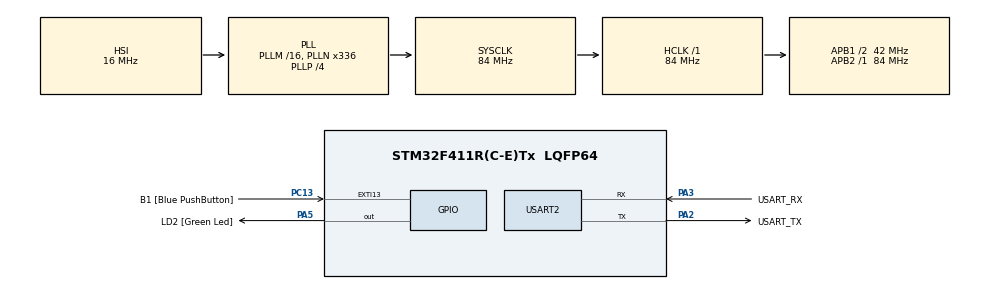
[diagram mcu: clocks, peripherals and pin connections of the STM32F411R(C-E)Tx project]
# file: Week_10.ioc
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Mcu.Family=STM32F4
PC15-OSC32_OUT.Mode=LSE-External-Oscillator
RCC.CortexFreq_Value=84000000
PC13-ANTI_TAMP.GPIO_Label=B1 [Blue PushButton]
PA14.GPIO_Label=TCK
PH1\ -\ OSC_OUT.Mode=HSE-External-Clock-Source
RCC.APB1CLKDivider=RCC_HCLK_DIV2
PC14-OSC32_IN.Signal=RCC_OSC32_IN
NVIC.USART2_IRQn=true\:0\:0\:false\:false\:true\:true\:true
RCC.SYSCLKSource=RCC_SYSCLKSOURCE_PLLCLK
ProjectManager.StackSize=0x400
PA13.Signal=SYS_JTMS-SWDIO
PA3.Mode=Asynchronous
PH0\ -\ OSC_IN.Mode=HSE-External-Clock-Source
PH0\ -\ OSC_IN.Signal=RCC_OSC_IN
ProjectManager.TargetToolchain=STM32CubeIDE
RCC.HCLKFreq_Value=84000000
RCC.APB2TimFreq_Value=84000000
PC15-OSC32_OUT.Signal=RCC_OSC32_OUT
RCC.AHBFreq_Value=84000000
PA5.Signal=GPIO_Output
RCC.HSE_VALUE=8000000
PH1\ -\ OSC_OUT.Signal=RCC_OSC_OUT
board=NUCLEO-F411RE
PC13-ANTI_TAMP.Signal=GPXTI13
RCC.VCOOutputFreq_Value=336000000
RCC.APB2Freq_Value=84000000
PC14-OSC32_IN.Mode=LSE-External-Oscillator
PA14.Mode=Serial_Wire
PA13.Mode=Serial_Wire
Mcu.Name=STM32F411R(C-E)Tx
PA2.Signal=USART2_TX
PA13.GPIO_Label=TMS
RCC.FLatency-AdvancedSettings=FLASH_LATENCY_2
RCC.48MHZClocksFreq_Value=84000000
PB3.Signal=SYS_JTDO-SWO
RCC.SYSCLKFreq_VALUE=84000000
Mcu.Package=LQFP64
PA5.GPIO_Label=LD2 [Green Led]
USART2.VirtualMode=VM_ASYNC
PC13-ANTI_TAMP.GPIO_ModeDefaultEXTI=GPIO_MODE_IT_FALLING
PA2.GPIO_Label=USART_TX
PA14.Signal=SYS_JTCK-SWCLK
ProjectManager.HeapSize=0x200
RCC.HSI_VALUE=16000000
RCC.PLLP=RCC_PLLP_DIV4
NVIC.PriorityGroup=NVIC_PRIORITYGROUP_0
RCC.PLLN=336
RCC.APB1TimFreq_Value=84000000
PA2.Mode=Asynchronous
RCC.APB1Freq_Value=42000000
PA3.GPIO_Label=USART_RX
PA3.Signal=USART2_RX
PB3.GPIO_Label=SWO

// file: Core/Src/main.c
/* USER CODE BEGIN Header */
/**
 ******************************************************************************
 * @file           : main.c
 * @brief          : Main program body
 ******************************************************************************
 * @attention
 *
 * <h2><center>&copy; Copyright (c) 2021 STMicroelectronics.
 * All rights reserved.</center></h2>
 *
 * This software component is licensed by ST under BSD 3-Clause license,
 * the "License"; You may not use this file except in compliance with the
 * License. You may obtain a copy of the License at:
 *                        opensource.org/licenses/BSD-3-Clause
 *
 ******************************************************************************
 */
/* USER CODE END Header */
#include "main.h"

/* USER CODE BEGIN Includes */
#include <stdio.h>  // sprintf
#include <string.h> // strlen (measure lenght of string)
/* USER CODE END Includes */

UART_HandleTypeDef huart2;

/* USER CODE BEGIN PV */
char TxDataBuffer[32] = {0};
char RxDataBuffer[32] = {0};
char temp[100] = {0};
int Checkbutton = 0;
uint8_t B1[2]; // now,last
uint32_t State = 0;
int  f = 0;
int  LED = 0;
char frequency[100] = {0};
enum _State
{
	State_Start = 0,
	State_Mainmenu_Print = 10,
	State_Mainmenu_WaitInput,
	State_Menu0_Print = 20,
	State_Menu0_WaitInput,
	State_Menu1_Print = 30,
	State_Menu1_WaitInput
};

/* USER CODE END PV */

void SystemClock_Config(void);
static void MX_GPIO_Init(void);
static void MX_USART2_UART_Init(void);
/* USER CODE BEGIN PFP */
void UARTRecieveAndResponsePolling();
int16_t UARTRecieveIT();
/* USER CODE END PFP */

int main(void)
{

  /* MCU Configuration--------------------------------------------------------*/

  /* Reset of all peripherals, Initializes the Flash interface and the Systick. */
  HAL_Init();

  /* Configure the system clock */
  SystemClock_Config();

  /* Initialize all configured peripherals */
  MX_GPIO_Init();
  MX_USART2_UART_Init();
  /* USER CODE BEGIN 2 */
  {
//	  char temp[] = "HELLO WORD\r\n please type something to test UART\r\n";
//	  HAL_UART_Transmit(&huart2, (uint8_t*) temp, strlen(temp),100);

//  HAL_UART_Transmit_IT(&huart2, (uint8_t*) temp, strlen(temp));
  }
  /* USER CODE END 2 */

  /* Infinite loop */
  /* USER CODE BEGIN WHILE */
	while (1)
	{
		/*Method 1 Polling Mode*/  // BAD Implement
//		UARTRecieveAndResponsePolling();

		/*Method 2 Interrupt Mode*/
		HAL_UART_Receive_IT(&huart2,(uint8_t*)RxDataBuffer, 32);

		/*Method 2 W/ 1 Char Received*/
		int16_t inputchar = UARTRecieveIT();
//		if (inputchar != -1)
//		{
//			sprintf(TxDataBuffer, "ReceivedChar:[%c]\r\n", inputchar);
//			HAL_UART_Transmit(&huart2, (uint8_t*)TxDataBuffer, strlen(TxDataBuffer), 1000);
//		}
		B1[0] = HAL_GPIO_ReadPin(GPIOC, GPIO_PIN_13);
		//state matchine foe menu selection
		switch (State)
		{
			case State_Start:
				State = State_Mainmenu_Print;
				break;

			case State_Mainmenu_Print:
			{
				 char temp[] = "***** Main Menu *****\r\n 0: LED Control\r\n 1: Button Status\r\n \r\n";
			 	 HAL_UART_Transmit(&huart2, (uint8_t*)temp, strlen(temp), 1000);
				 State = State_Mainmenu_WaitInput;
				 break;
			}

			case State_Mainmenu_WaitInput:
				switch (inputchar)
				{
					case -1:    // no input
					{
						break;
					}
					case '0':  // press 0
					{
						State = State_Menu0_Print;
						break;
					}
					case '1':  // press 1
					{
						State = State_Menu1_Print;
						break;
					}
					default:   // error
					{
						 char temp[] = "***** Please Press again *****\r\n";
						 HAL_UART_Transmit(&huart2, (uint8_t*)temp, strlen(temp), 1000);
						 State = State_Mainmenu_Print;
						 break;
					}
				}
				break;
			case State_Menu0_Print:
			{
				char temp[] = "***** Mode 0: LED Control *****\r\n a: +1Hz\r\n s: -1Hz\r\n d: On/Off\r\n x: back\r\n \r\n";
				HAL_UART_Transmit(&huart2, (uint8_t*)temp, strlen(temp), 1000);
				State = State_Menu0_WaitInput;
				break;
			}
			case State_Menu0_WaitInput:
			{
				switch (inputchar)
				{
					case -1:   // no input
					{
						break;
					}
					case 'a':  // Speed Up +1Hz
					{
						f +=1;
						sprintf(frequency, "***** frequency: %d Hz *****\r\n", f);
						HAL_UART_Transmit(&huart2, (uint8_t*)frequency, strlen(frequency), 1000);
						State = State_Menu0_Print;
						break;
					}
					case 's':  // Speed Down -1Hz
					{
						f -=1;
						if(f < 0)
						{
							f = 0;
						}
						sprintf(frequency, "***** frequency:%d Hz *****\r\n", f);
						HAL_UART_Transmit(&huart2, (uint8_t*)frequency, strlen(frequency), 1000);
						State = State_Menu0_Print;
						break;
					}
					case 'd':  // On/Off
					{
						if (HAL_GPIO_ReadPin(GPIOA, GPIO_PIN_5) == GPIO_PIN_SET)
						{
							LED = 0;
							HAL_GPIO_WritePin(GPIOA, GPIO_PIN_5, GPIO_PIN_RESET);
							char temp[] = "***** LED Off *****\r\n ";
							HAL_UART_Transmit(&huart2, (uint8_t*)temp, strlen(temp), 1000);
							State = State_Menu0_Print;
							break;
						}
						else if (HAL_GPIO_ReadPin(GPIOA, GPIO_PIN_5) == GPIO_PIN_RESET)
						{
							LED = 1;
							HAL_GPIO_WritePin(GPIOA, GPIO_PIN_5, GPIO_PIN_SET);
							char temp[] = "***** LED On *****\r\n";
							HAL_UART_Transmit(&huart2, (uint8_t*)temp, strlen(temp), 1000);
							State = State_Menu0_Print;
							break;
						}

					}
					case 'x':  // back
					{
						State = State_Mainmenu_Print;
						break;
					}
					default:   // error
					{
						 char temp[] = "***** Please Press again *****\r\n";
						 HAL_UART_Transmit(&huart2, (uint8_t*)temp, strlen(temp), 1000);
						 State = State_Menu0_Print;
						 break;
					}
				}
				break;
			}
			case State_Menu1_Print:
			{
				if (B1[0] == 0 && B1[1] == 1) // Press
				{
					char temp[] = "***** Button Press *****\r\n";
					HAL_UART_Transmit(&huart2, (uint8_t*)temp, strlen(temp), 1000);
				}
				else if (B1[0] == 1 && B1[1] == 0)// Don't Press
				{
					char temp[] = "***** Button Don't Press *****\r\n";
					HAL_UART_Transmit(&huart2, (uint8_t*)temp, strlen(temp), 1000);
				}
				B1[1] = B1[0];

				char temp[] = "***** Mode 1: Button Status *****\r\n x: back\r\n ";
				HAL_UART_Transmit(&huart2, (uint8_t*)temp, strlen(temp), 1000);
				State = State_Menu1_WaitInput;
				break;
			}
			case State_Menu1_WaitInput:
			{
				switch (inputchar)
				{
					case -1 :   // no input
					{
						break;
					}
					case 'x':  // back
					{
						State = State_Mainmenu_Print;
						break;
					}
					default:   // error
					{
						 char temp[] = "***** Please Press again *****\r\n";
						 HAL_UART_Transmit(&huart2, (uint8_t*)temp, strlen(temp), 1000);
						 State = State_Menu1_Print;
						 break;
					}
				}
				break;
			}
		}

		/*This section just simulate Work Load*/
		// LED blink 1 Hz
		if (f>0)
		{
			if (LED == 1)
			{
				HAL_Delay(500/f);
				HAL_GPIO_TogglePin(LD2_GPIO_Port, LD2_Pin);
			}
		}
    /* USER CODE END WHILE */

	}
}

void SystemClock_Config(void)
{
  RCC_OscInitTypeDef RCC_OscInitStruct = {0};
  RCC_ClkInitTypeDef RCC_ClkInitStruct = {0};

  /** Configure the main internal regulator output voltage
  */
  __HAL_RCC_PWR_CLK_ENABLE();
  __HAL_PWR_VOLTAGESCALING_CONFIG(PWR_REGULATOR_VOLTAGE_SCALE1);
  /** Initializes the RCC Oscillators according to the specified parameters
  * in the RCC_OscInitTypeDef structure.
  */
  RCC_OscInitStruct.OscillatorType = RCC_OSCILLATORTYPE_HSI;
  RCC_OscInitStruct.HSIState = RCC_HSI_ON;
  RCC_OscInitStruct.HSICalibrationValue = RCC_HSICALIBRATION_DEFAULT;
  RCC_OscInitStruct.PLL.PLLState = RCC_PLL_ON;
  RCC_OscInitStruct.PLL.PLLSource = RCC_PLLSOURCE_HSI;
  RCC_OscInitStruct.PLL.PLLM = 16;
  RCC_OscInitStruct.PLL.PLLN = 336;
  RCC_OscInitStruct.PLL.PLLP = RCC_PLLP_DIV4;
  RCC_OscInitStruct.PLL.PLLQ = 4;
  if (HAL_RCC_OscConfig(&RCC_OscInitStruct) != HAL_OK)
  {
    Error_Handler();
  }
  /** Initializes the CPU, AHB and APB buses clocks
  */
  RCC_ClkInitStruct.ClockType = RCC_CLOCKTYPE_HCLK|RCC_CLOCKTYPE_SYSCLK
                              |RCC_CLOCKTYPE_PCLK1|RCC_CLOCKTYPE_PCLK2;
  RCC_ClkInitStruct.SYSCLKSource = RCC_SYSCLKSOURCE_PLLCLK;
  RCC_ClkInitStruct.AHBCLKDivider = RCC_SYSCLK_DIV1;
  RCC_ClkInitStruct.APB1CLKDivider = RCC_HCLK_DIV2;
  RCC_ClkInitStruct.APB2CLKDivider = RCC_HCLK_DIV1;

  if (HAL_RCC_ClockConfig(&RCC_ClkInitStruct, FLASH_LATENCY_2) != HAL_OK)
  {
    Error_Handler();
  }
}

static void MX_USART2_UART_Init(void)
{

  huart2.Instance = USART2;
  huart2.Init.BaudRate = 115200;
  huart2.Init.WordLength = UART_WORDLENGTH_8B;
  huart2.Init.StopBits = UART_STOPBITS_1;
  huart2.Init.Parity = UART_PARITY_NONE;
  huart2.Init.Mode = UART_MODE_TX_RX;
  huart2.Init.HwFlowCtl = UART_HWCONTROL_NONE;
  huart2.Init.OverSampling = UART_OVERSAMPLING_16;
  if (HAL_UART_Init(&huart2) != HAL_OK)
  {
    Error_Handler();
  }

}

static void MX_GPIO_Init(void)
{
  GPIO_InitTypeDef GPIO_InitStruct = {0};

  /* GPIO Ports Clock Enable */
  __HAL_RCC_GPIOC_CLK_ENABLE();
  __HAL_RCC_GPIOH_CLK_ENABLE();
  __HAL_RCC_GPIOA_CLK_ENABLE();
  __HAL_RCC_GPIOB_CLK_ENABLE();

  /*Configure GPIO pin Output Level */
  HAL_GPIO_WritePin(LD2_GPIO_Port, LD2_Pin, GPIO_PIN_RESET);

  /*Configure GPIO pin : B1_Pin */
  GPIO_InitStruct.Pin = B1_Pin;
  GPIO_InitStruct.Mode = GPIO_MODE_IT_FALLING;
  GPIO_InitStruct.Pull = GPIO_NOPULL;
  HAL_GPIO_Init(B1_GPIO_Port, &GPIO_InitStruct);

  /*Configure GPIO pin : LD2_Pin */
  GPIO_InitStruct.Pin = LD2_Pin;
  GPIO_InitStruct.Mode = GPIO_MODE_OUTPUT_PP;
  GPIO_InitStruct.Pull = GPIO_NOPULL;
  GPIO_InitStruct.Speed = GPIO_SPEED_FREQ_LOW;
  HAL_GPIO_Init(LD2_GPIO_Port, &GPIO_InitStruct);

}

/* USER CODE BEGIN 4 */
void UARTRecieveAndResponsePolling()
{
	// create Buffer
	char Recieve[32] = {0};

	// start Receive in Polling mode
	HAL_UART_Receive(&huart2, (uint8_t*)Recieve, 32, 1000);

	// create Feedback Text
	sprintf(TxDataBuffer, "Received:[%s]\r\n", Recieve);

	// sent Text
	HAL_UART_Transmit(&huart2, (uint8_t*)TxDataBuffer, strlen(TxDataBuffer), 1000);
}

int16_t UARTRecieveIT()
{
	// store data last position
	static uint32_t dataPos = 0;
	// create dummy data
	int16_t data = -1;

	// check Pos in buffer VS last position
	if(huart2.RxXferSize - huart2.RxXferCount!=dataPos)
	{
		// read data from Buffer
		data = RxDataBuffer[dataPos];

		 // move to next Pos
		dataPos = (dataPos+1) %huart2.RxXferSize;
	}
	return data;
}

void HAL_UART_RxCpltCallback(UART_HandleTypeDef *huart)
{
	sprintf(TxDataBuffer, "Received:[%s]\r\n", RxDataBuffer);
	HAL_UART_Transmit(&huart2, (uint8_t*)TxDataBuffer, strlen(TxDataBuffer), 1000);
}
/* USER CODE END 4 */

void Error_Handler(void)
{
	__disable_irq();
	while (1)
	{
	}
}

/************************ (C) COPYRIGHT STMicroelectronics *****END OF FILE****/
